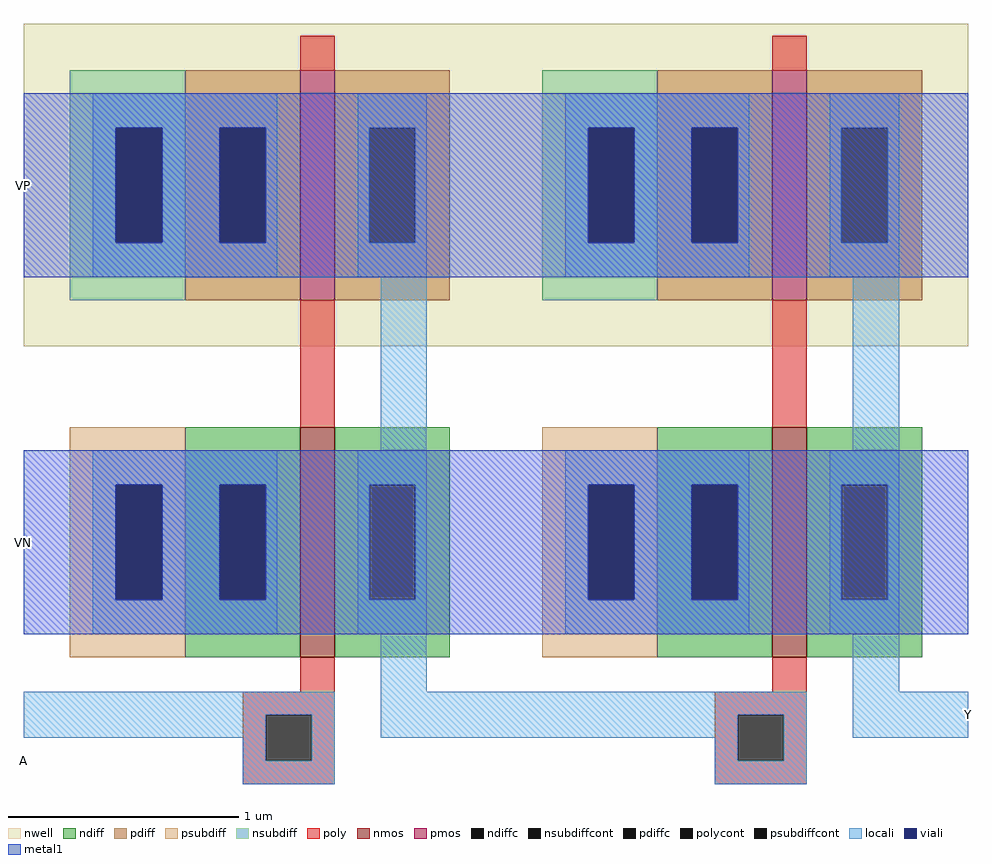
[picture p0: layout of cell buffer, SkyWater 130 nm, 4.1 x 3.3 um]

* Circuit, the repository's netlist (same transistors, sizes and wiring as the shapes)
* SPICE3 file created from buffer.ext - technology: sky130A

.subckt inverter A Y w_n145_115# a_n125_n20#
X0 Y A w_n145_115# w_n145_115# sky130_fd_pr__pfet_01v8 ad=0p pd=0u as=0p ps=0u w=1e+06u l=150000u
X1 Y A a_n125_n20# a_n125_n20# sky130_fd_pr__nfet_01v8 ad=0p pd=0u as=0p ps=0u w=1e+06u l=150000u
.ends


* Top level circuit buffer

Xinverter_0 inverter_0/A inverter_1/A VP VN inverter
Xinverter_1 inverter_1/A Y VP VN inverter
.end

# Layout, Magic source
magic
tech sky130A
<< locali >>
rect -5 15 20 35
rect 380 15 405 35
<< metal1 >>
rect -5 215 20 295
rect -5 60 20 140
use inverter  inverter_1
transform 1 0 345 0 1 70
box -145 -75 60 255
use inverter  inverter_0
transform 1 0 140 0 1 70
box -145 -75 60 255
<< labels >>
rlabel space -5 -15 -5 25 7 A
rlabel locali 405 25 405 25 3 Y
rlabel metal1 -5 255 -5 255 7 VP
rlabel metal1 -5 100 -5 100 7 VN
<< end >>

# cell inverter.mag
magic
tech sky130A
<< nwell >>
rect -145 115 60 255
<< nmos >>
rect -25 -20 -10 80
<< pmos >>
rect -25 135 -10 235
<< ndiff >>
rect -75 55 -25 80
rect -75 5 -60 55
rect -40 5 -25 55
rect -75 -20 -25 5
rect -10 55 40 80
rect -10 5 5 55
rect 25 5 40 55
rect -10 -20 40 5
<< pdiff >>
rect -75 210 -25 235
rect -75 160 -60 210
rect -40 160 -25 210
rect -75 135 -25 160
rect -10 210 40 235
rect -10 160 5 210
rect 25 160 40 210
rect -10 135 40 160
<< ndiffc >>
rect -60 5 -40 55
rect 5 5 25 55
<< pdiffc >>
rect -60 160 -40 210
rect 5 160 25 210
<< psubdiff >>
rect -125 55 -75 80
rect -125 5 -105 55
rect -85 5 -75 55
rect -125 -20 -75 5
<< nsubdiff >>
rect -125 210 -75 235
rect -125 160 -105 210
rect -85 160 -75 210
rect -125 135 -75 160
<< psubdiffcont >>
rect -105 5 -85 55
<< nsubdiffcont >>
rect -105 160 -85 210
<< poly >>
rect -25 235 -10 250
rect -25 80 -10 135
rect -25 -35 -10 -20
rect -50 -45 -10 -35
rect -50 -65 -40 -45
rect -20 -65 -10 -45
rect -50 -75 -10 -65
<< polycont >>
rect -40 -65 -20 -45
<< locali >>
rect -115 210 -35 225
rect -115 160 -105 210
rect -85 160 -60 210
rect -40 160 -35 210
rect -115 145 -35 160
rect 0 210 30 225
rect 0 160 5 210
rect 25 160 30 210
rect 0 145 30 160
rect 10 70 30 145
rect -115 55 -35 70
rect -115 5 -105 55
rect -85 5 -60 55
rect -40 5 -35 55
rect -115 -10 -35 5
rect 0 55 30 70
rect 0 5 5 55
rect 25 5 30 55
rect 0 -10 30 5
rect 10 -35 30 -10
rect -145 -45 -10 -35
rect -145 -55 -40 -45
rect -50 -65 -40 -55
rect -20 -65 -10 -45
rect 10 -55 60 -35
rect -50 -75 -10 -65
<< viali >>
rect -105 160 -85 210
rect -60 160 -40 210
rect -105 5 -85 55
rect -60 5 -40 55
<< metal1 >>
rect -145 210 60 225
rect -145 160 -105 210
rect -85 160 -60 210
rect -40 160 60 210
rect -145 145 60 160
rect -145 55 60 70
rect -145 5 -105 55
rect -85 5 -60 55
rect -40 5 60 55
rect -145 -10 60 5
<< labels >>
rlabel locali -145 -45 -145 -45 7 A
port 1 w
rlabel locali 60 -45 60 -45 3 Y
port 2 e
<< end >>
